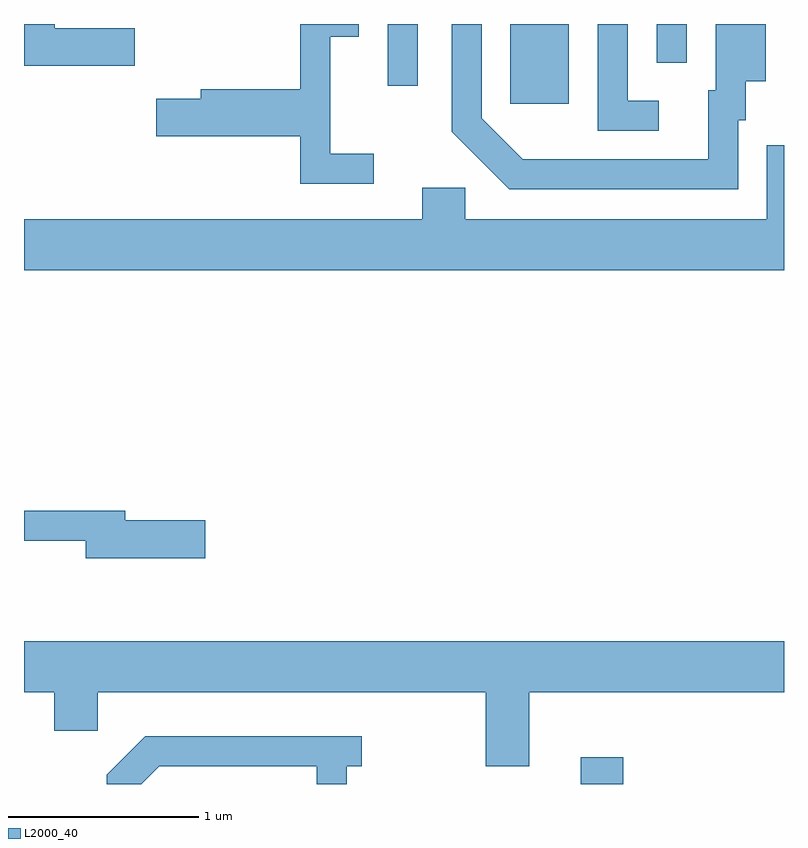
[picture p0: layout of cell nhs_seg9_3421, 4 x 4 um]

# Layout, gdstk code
import gdstk
lib = gdstk.Library(unit=1e-6, precision=1e-09)
def R(c, l, rs):  # rectangles x0, y0, x1, y1
    for r in rs: c.add(gdstk.rectangle(r[:2], r[2:], *l))
def P(c, l, *ps):  # polygons
    for p in ps: c.add(gdstk.Polygon(p, *l))
L2000_40 = (2000, 40)

nhs_seg9_3421 = lib.new_cell('nhs_seg9_3421')
R(nhs_seg9_3421, L2000_40, [(288.541,2002.432,288.764,2002.574), (288.171,2006.011,288.479,2006.432), (287.526,2006.108,287.684,2006.432), (288.941,2006.228,289.099,2006.432)])
P(nhs_seg9_3421, L2000_40, [(286.194,2006.409),(285.774,2006.409),(285.774,2006.432),(285.611,2006.432),(285.611,2006.211),(286.194,2006.211)],
  [(287.453,2005.749),(287.224,2005.749),(287.224,2006.366),(287.374,2006.366),(287.374,2006.432),(287.066,2006.432),(287.066,2006.089),(286.541,2006.089),(286.541,2006.039),(286.306,2006.039),(286.306,2005.841),(287.066,2005.841),(287.066,2005.591),(287.453,2005.591)],
  [(289.369,2005.926),(289.409,2005.926),(289.409,2006.131),(289.514,2006.131),(289.514,2006.432),(289.251,2006.432),(289.251,2006.084),(289.211,2006.084),(289.211,2005.719),(288.237,2005.719),(288.019,2005.937),(288.019,2006.432),(287.861,2006.432),(287.861,2005.864),(288.164,2005.561),(289.369,2005.561)],
  [(288.953,2006.029),(288.789,2006.029),(288.789,2006.432),(288.631,2006.432),(288.631,2005.871),(288.953,2005.871)],
  [(289.611,2005.794),(289.521,2005.794),(289.521,2005.404),(287.934,2005.404),(287.934,2005.569),(287.706,2005.569),(287.706,2005.404),(285.611,2005.404),(285.611,2005.136),(289.611,2005.136)],
  [(286.564,2003.819),(286.144,2003.819),(286.144,2003.869),(285.611,2003.869),(285.611,2003.711),(285.936,2003.711),(285.936,2003.621),(286.564,2003.621)],
  [(288.269,2002.916),(289.611,2002.916),(289.611,2003.184),(285.611,2003.184),(285.611,2002.916),(285.771,2002.916),(285.771,2002.711),(285.999,2002.711),(285.999,2002.916),(288.041,2002.916),(288.041,2002.526),(288.269,2002.526)],
  [(286.322,2002.526),(287.151,2002.526),(287.151,2002.432),(287.309,2002.432),(287.309,2002.526),(287.388,2002.526),(287.388,2002.684),(286.249,2002.684),(286.046,2002.482),(286.046,2002.432),(286.227,2002.432)])

lib.write_gds('nhs_seg9_3421.gds')
